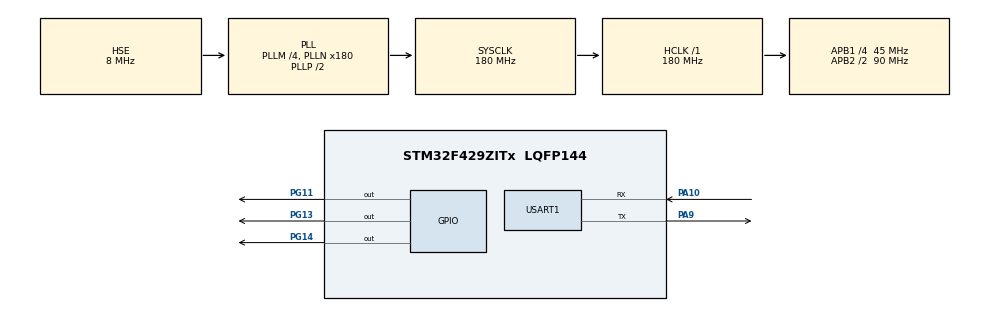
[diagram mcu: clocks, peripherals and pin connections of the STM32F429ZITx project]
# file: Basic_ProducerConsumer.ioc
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FREERTOS.Tasks01=defaultTask,0,128,StartDefaultTask,Default,NULL,Dynamic,NULL,NULL
Mcu.Family=STM32F4
Mcu.Name=STM32F429ZITx
Mcu.Package=LQFP144
NVIC.PriorityGroup=NVIC_PRIORITYGROUP_4
NVIC.TIM6_DAC_IRQn=true\:15\:0\:false\:false\:true\:false\:false\:true\:true
NVIC.TimeBase=TIM6_DAC_IRQn
NVIC.TimeBaseIP=TIM6
PA10.Mode=Asynchronous
PA10.Signal=USART1_RX
PA9.Mode=Asynchronous
PA9.Signal=USART1_TX
PG11.Signal=GPIO_Output
PG13.Signal=GPIO_Output
PG14.Signal=GPIO_Output
PH0/OSC_IN.Mode=HSE-External-Oscillator
PH0/OSC_IN.Signal=RCC_OSC_IN
PH1/OSC_OUT.Mode=HSE-External-Oscillator
PH1/OSC_OUT.Signal=RCC_OSC_OUT
ProjectManager.HeapSize=0x200
ProjectManager.StackSize=0x400
ProjectManager.TargetToolchain=STM32CubeIDE
RCC.48MHZClocksFreq_Value=51428571.428571425
RCC.AHBFreq_Value=180000000
RCC.APB1CLKDivider=RCC_HCLK_DIV4
RCC.APB1Freq_Value=45000000
RCC.APB1TimFreq_Value=90000000
RCC.APB2CLKDivider=RCC_HCLK_DIV2
RCC.APB2Freq_Value=90000000
RCC.APB2TimFreq_Value=180000000
RCC.CortexFreq_Value=180000000
RCC.HCLKFreq_Value=180000000
RCC.HSE_VALUE=8000000
RCC.HSI_VALUE=16000000
RCC.LSE_VALUE=32768
RCC.PLLM=4
RCC.PLLN=180
RCC.PLLQ=7
RCC.PLLSourceVirtual=RCC_PLLSOURCE_HSE
RCC.SYSCLKFreq_VALUE=180000000
RCC.SYSCLKSource=RCC_SYSCLKSOURCE_PLLCLK
RCC.VCOOutputFreq_Value=360000000
USART1.VirtualMode=VM_ASYNC
VP_FREERTOS_VS_CMSIS_V1.Mode=CMSIS_V1
VP_SYS_VS_tim6.Mode=TIM6
board=STM32F429I-DISC1

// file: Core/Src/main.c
/* USER CODE BEGIN Header */
/**
  ******************************************************************************
  * @file           : main.c
  * @brief          : Main program body
  ******************************************************************************
  * @attention
  *
  * Copyright (c) 2025 STMicroelectronics.
  * All rights reserved.
  *
  * This software is licensed under terms that can be found in the LICENSE file
  * in the root directory of this software component.
  * If no LICENSE file comes with this software, it is provided AS-IS.
  *
  ******************************************************************************
  */
/* USER CODE END Header */
#include "main.h"

#include "FreeRTOS.h"
#include "task.h"
#include "stream_buffer.h"

#include "string.h"

UART_HandleTypeDef huart1;

void SystemClock_Config(void);
static void MX_GPIO_Init(void);
static void MX_USART1_UART_Init(void);

/* USER CODE BEGIN 0 */

/* ****************************** Stream Buffer Handle ************************* */
StreamBufferHandle_t StreamBuffer_Handle;

/* ****************************** Task Handles ********************************* */
TaskHandle_t ProducerHandle;
TaskHandle_t ConsumerHandle;

#define STREAM_BUFFER_SIZE 64
#define TRIGGER_LEVEL	   1

/* ***************************** Task Functions ******************************** */
void ProducerTask(void* pvParameters)
{
	char* txData = "Hello from Producer.\n"; // 20 bytes

	for(;;)
	{
		HAL_UART_Transmit(&huart1, (uint8_t *)"Producing Data...\r\n", 20, HAL_MAX_DELAY);
		size_t bytesSent = xStreamBufferSend(
				StreamBuffer_Handle,
				(void *)txData,
				strlen(txData),
				pdMS_TO_TICKS(100)
		);

		if(bytesSent > 0){
			HAL_GPIO_TogglePin(GPIOG, GPIO_PIN_13); // Toggle LED on successful send (Producer)
		}

		vTaskDelay(pdMS_TO_TICKS(1000));
	}
}

void ConsumerTask(void *pvParameters)
{
	char rxBuffer[32];
	for(;;)
	{
		size_t bytesReceived = xStreamBufferReceive( // waiting for data from Producer
				StreamBuffer_Handle,
				(void*)rxBuffer,
				sizeof(rxBuffer),
				portMAX_DELAY );

		if (bytesReceived > 0) {
			HAL_GPIO_TogglePin(GPIOG, GPIO_PIN_14); // Toggle LED on successful Receive (Consumer)
			HAL_UART_Transmit(&huart1, (uint8_t*)rxBuffer, bytesReceived, HAL_MAX_DELAY);
		}
	}
}

/* USER CODE END 0 */

int main(void)
{

  /* MCU Configuration--------------------------------------------------------*/

  /* Reset of all peripherals, Initializes the Flash interface and the Systick. */
  HAL_Init();

  /* Configure the system clock */
  SystemClock_Config();

  /* Initialize all configured peripherals */
  MX_GPIO_Init();
  MX_USART1_UART_Init();
  /* USER CODE BEGIN 2 */

  /* ************************** Create Stream Buffer ************************** */
  StreamBuffer_Handle = xStreamBufferCreate(STREAM_BUFFER_SIZE, TRIGGER_LEVEL);
  if(StreamBuffer_Handle == NULL)
  {
	  HAL_UART_Transmit(&huart1, (uint8_t *)"Stream Buffer Creation Failed\r\n", 30, HAL_MAX_DELAY);
  }else{
	  HAL_UART_Transmit(&huart1, (uint8_t *)"Stream Buffer Created Successfully\r\n", 37, HAL_MAX_DELAY);
  }

  /* **************************** Create Tasks ********************************** */
  xTaskCreate(ProducerTask, "Producer", 256, NULL, 2, &ProducerHandle);
  xTaskCreate(ConsumerTask, "Consumer", 256, NULL, 2, &ConsumerHandle);

  vTaskStartScheduler();

  /* USER CODE END 2 */

  /* We should never get here as control is now taken by the scheduler */

  /* Infinite loop */
  while (1)
  {

  }
}

void SystemClock_Config(void)
{
  RCC_OscInitTypeDef RCC_OscInitStruct = {0};
  RCC_ClkInitTypeDef RCC_ClkInitStruct = {0};

  /** Configure the main internal regulator output voltage
  */
  __HAL_RCC_PWR_CLK_ENABLE();
  __HAL_PWR_VOLTAGESCALING_CONFIG(PWR_REGULATOR_VOLTAGE_SCALE1);

  /** Initializes the RCC Oscillators according to the specified parameters
  * in the RCC_OscInitTypeDef structure.
  */
  RCC_OscInitStruct.OscillatorType = RCC_OSCILLATORTYPE_HSE;
  RCC_OscInitStruct.HSEState = RCC_HSE_ON;
  RCC_OscInitStruct.PLL.PLLState = RCC_PLL_ON;
  RCC_OscInitStruct.PLL.PLLSource = RCC_PLLSOURCE_HSE;
  RCC_OscInitStruct.PLL.PLLM = 4;
  RCC_OscInitStruct.PLL.PLLN = 180;
  RCC_OscInitStruct.PLL.PLLP = RCC_PLLP_DIV2;
  RCC_OscInitStruct.PLL.PLLQ = 7;
  if (HAL_RCC_OscConfig(&RCC_OscInitStruct) != HAL_OK)
  {
    Error_Handler();
  }

  /** Activate the Over-Drive mode
  */
  if (HAL_PWREx_EnableOverDrive() != HAL_OK)
  {
    Error_Handler();
  }

  /** Initializes the CPU, AHB and APB buses clocks
  */
  RCC_ClkInitStruct.ClockType = RCC_CLOCKTYPE_HCLK|RCC_CLOCKTYPE_SYSCLK
                              |RCC_CLOCKTYPE_PCLK1|RCC_CLOCKTYPE_PCLK2;
  RCC_ClkInitStruct.SYSCLKSource = RCC_SYSCLKSOURCE_PLLCLK;
  RCC_ClkInitStruct.AHBCLKDivider = RCC_SYSCLK_DIV1;
  RCC_ClkInitStruct.APB1CLKDivider = RCC_HCLK_DIV4;
  RCC_ClkInitStruct.APB2CLKDivider = RCC_HCLK_DIV2;

  if (HAL_RCC_ClockConfig(&RCC_ClkInitStruct, FLASH_LATENCY_5) != HAL_OK)
  {
    Error_Handler();
  }
}

static void MX_USART1_UART_Init(void)
{

  huart1.Instance = USART1;
  huart1.Init.BaudRate = 115200;
  huart1.Init.WordLength = UART_WORDLENGTH_8B;
  huart1.Init.StopBits = UART_STOPBITS_1;
  huart1.Init.Parity = UART_PARITY_NONE;
  huart1.Init.Mode = UART_MODE_TX_RX;
  huart1.Init.HwFlowCtl = UART_HWCONTROL_NONE;
  huart1.Init.OverSampling = UART_OVERSAMPLING_16;
  if (HAL_UART_Init(&huart1) != HAL_OK)
  {
    Error_Handler();
  }

}

static void MX_GPIO_Init(void)
{
  GPIO_InitTypeDef GPIO_InitStruct = {0};

  /* GPIO Ports Clock Enable */
  __HAL_RCC_GPIOH_CLK_ENABLE();
  __HAL_RCC_GPIOA_CLK_ENABLE();
  __HAL_RCC_GPIOG_CLK_ENABLE();

  /*Configure GPIO pin Output Level */
  HAL_GPIO_WritePin(GPIOG, GPIO_PIN_11|GPIO_PIN_13|GPIO_PIN_14, GPIO_PIN_RESET);

  /*Configure GPIO pins : PG11 PG13 PG14 */
  GPIO_InitStruct.Pin = GPIO_PIN_11|GPIO_PIN_13|GPIO_PIN_14;
  GPIO_InitStruct.Mode = GPIO_MODE_OUTPUT_PP;
  GPIO_InitStruct.Pull = GPIO_NOPULL;
  GPIO_InitStruct.Speed = GPIO_SPEED_FREQ_LOW;
  HAL_GPIO_Init(GPIOG, &GPIO_InitStruct);

}

void HAL_TIM_PeriodElapsedCallback(TIM_HandleTypeDef *htim)
{
  if (htim->Instance == TIM6)
  {
    HAL_IncTick();
  }
}

void Error_Handler(void)
{
  __disable_irq();
  while (1)
  {
  }
}
